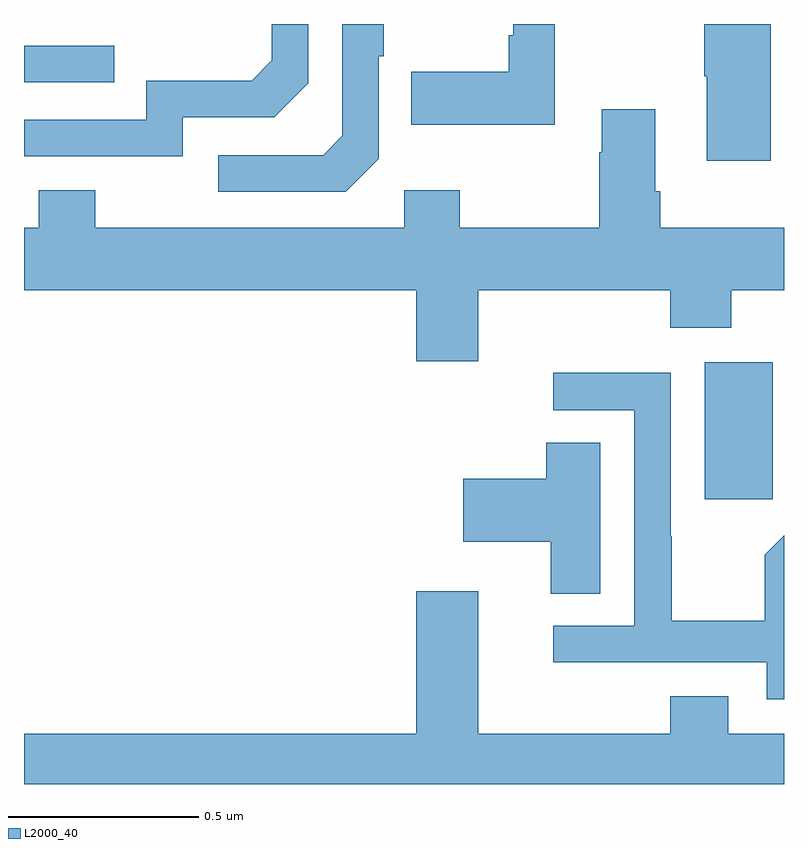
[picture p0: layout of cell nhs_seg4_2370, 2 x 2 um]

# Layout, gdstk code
import gdstk
lib = gdstk.Library(unit=1e-6, precision=1e-09)
def R(c, l, rs):  # rectangles x0, y0, x1, y1
    for r in rs: c.add(gdstk.rectangle(r[:2], r[2:], *l))
def P(c, l, *ps):  # polygons
    for p in ps: c.add(gdstk.Polygon(p, *l))
L2000_40 = (2000, 40)

nhs_seg4_2370 = lib.new_cell('nhs_seg4_2370')
R(nhs_seg4_2370, L2000_40, [(141.791,749.649,141.97,750.01), (140,750.747,140.237,750.843)])
P(nhs_seg4_2370, L2000_40, [(141.965,750.9),(141.79,750.9),(141.79,750.763),(141.797,750.763),(141.797,750.54),(141.965,750.54)],
  [(140.418,750.654),(140.658,750.654),(140.748,750.744),(140.748,750.9),(140.652,750.9),(140.652,750.804),(140.599,750.751),(140.322,750.751),(140.322,750.648),(140,750.648),(140,750.552),(140.418,750.552)],
  [(140.934,750.546),(140.934,750.815),(140.947,750.815),(140.947,750.9),(140.838,750.9),(140.838,750.606),(140.787,750.555),(140.511,750.555),(140.511,750.459),(140.847,750.459)],
  [(141.397,750.9),(141.288,750.9),(141.288,750.871),(141.276,750.871),(141.276,750.775),(141.019,750.775),(141.019,750.635),(141.397,750.635)],
  [(141.196,750.2),(141.701,750.2),(141.701,750.101),(141.861,750.101),(141.861,750.2),(142,750.2),(142,750.364),(141.674,750.364),(141.674,750.46),(141.661,750.46),(141.661,750.676),(141.521,750.676),(141.521,750.563),(141.514,750.563),(141.514,750.364),(141.147,750.364),(141.147,750.463),(141,750.463),(141,750.364),(140.187,750.364),(140.187,750.463),(140.039,750.463),(140.039,750.364),(140,750.364),(140,750.2),(141.032,750.2),(141.032,750.012),(141.196,750.012)],
  [(142,749.554),(141.949,749.503),(141.949,749.329),(141.705,749.329),(141.705,749.552),(141.702,749.552),(141.702,749.982),(141.393,749.982),(141.393,749.883),(141.606,749.883),(141.606,749.316),(141.393,749.316),(141.393,749.22),(141.954,749.22),(141.954,749.123),(142,749.123)],
  [(141.517,749.798),(141.374,749.798),(141.374,749.703),(141.156,749.703),(141.156,749.537),(141.386,749.537),(141.386,749.401),(141.517,749.401)],
  [(142,749.032),(141.853,749.032),(141.853,749.131),(141.701,749.131),(141.701,749.032),(141.196,749.032),(141.196,749.407),(141.032,749.407),(141.032,749.032),(140,749.032),(140,748.9),(142,748.9)])

lib.write_gds('nhs_seg4_2370.gds')
